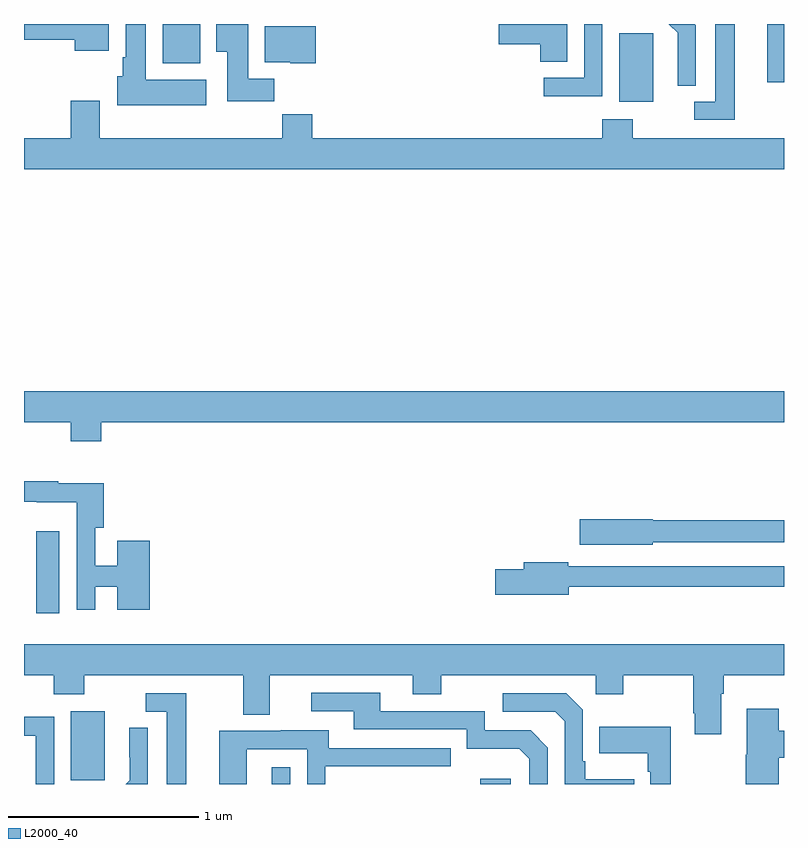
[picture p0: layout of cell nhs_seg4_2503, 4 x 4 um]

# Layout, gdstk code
import gdstk
lib = gdstk.Library(unit=1e-6, precision=1e-09)
def R(c, l, rs):  # rectangles x0, y0, x1, y1
    for r in rs: c.add(gdstk.rectangle(r[:2], r[2:], *l))
def P(c, l, *ps):  # polygons
    for p in ps: c.add(gdstk.Polygon(p, *l))
L2000_40 = (2000, 40)

nhs_seg4_2503 = lib.new_cell('nhs_seg4_2503')
R(nhs_seg4_2503, L2000_40, [(242.303,810.9,242.4,810.988), (243.401,810.9,243.562,810.928), (241.247,810.921,241.426,811.282), (241.064,811.8,241.186,812.23), (244.133,814.49,244.312,814.851), (244.913,814.593,245,814.9), (241.73,814.694,241.927,814.9)])
P(nhs_seg4_2503, L2000_40, [(244.536,814.894),(244.53,814.9),(244.394,814.9),(244.442,814.853),(244.442,814.73),(244.44,814.73),(244.44,814.576),(244.536,814.576)],
  [(244.044,814.9),(243.948,814.9),(243.948,814.617),(243.735,814.617),(243.735,814.519),(244.044,814.519)],
  [(241.96,814.606),(241.642,814.606),(241.642,814.9),(241.535,814.9),(241.535,814.726),(241.52,814.726),(241.52,814.626),(241.49,814.626),(241.49,814.472),(241.96,814.472)],
  [(243.859,814.9),(243.498,814.9),(243.498,814.793),(243.716,814.793),(243.716,814.702),(243.859,814.702)],
  [(241.447,814.9),(241,814.9),(241,814.816),(241.268,814.816),(241.268,814.76),(241.447,814.76)],
  [(244.741,814.9),(244.637,814.9),(244.637,814.491),(244.527,814.491),(244.527,814.395),(244.741,814.395)],
  [(242.318,814.612),(242.179,814.612),(242.179,814.9),(242.012,814.9),(242.012,814.753),(242.069,814.753),(242.069,814.494),(242.318,814.494)],
  [(242.536,814.888),(242.267,814.888),(242.267,814.7),(242.4,814.7),(242.4,814.694),(242.536,814.694)],
  [(245,814.3),(244.203,814.3),(244.203,814.399),(244.043,814.399),(244.043,814.3),(242.516,814.3),(242.516,814.424),(242.359,814.424),(242.359,814.3),(241.399,814.3),(241.399,814.495),(241.247,814.495),(241.247,814.3),(241,814.3),(241,814.136),(245,814.136)],
  [(241.406,812.804),(245,812.804),(245,812.968),(241,812.968),(241,812.804),(241.246,812.804),(241.246,812.705),(241.406,812.705)],
  [(241.374,811.938),(241.49,811.938),(241.49,811.818),(241.661,811.818),(241.661,812.179),(241.49,812.179),(241.49,812.048),(241.374,812.048),(241.374,812.249),(241.421,812.249),(241.421,812.484),(241.181,812.484),(241.181,812.494),(241,812.494),(241,812.385),(241.068,812.385),(241.068,812.384),(241.278,812.384),(241.278,811.818),(241.374,811.818)],
  [(244.308,812.172),(245,812.172),(245,812.288),(244.308,812.288),(244.308,812.294),(243.924,812.294),(243.924,812.159),(244.308,812.159)],
  [(243.868,811.938),(245,811.938),(245,812.046),(243.864,812.046),(243.864,812.066),(243.629,812.066),(243.629,812.03),(243.48,812.03),(243.48,811.895),(243.868,811.895)],
  [(244.669,811.376),(244.682,811.376),(244.682,811.472),(245,811.472),(245,811.636),(241,811.636),(241,811.472),(241.157,811.472),(241.157,811.373),(241.317,811.373),(241.317,811.472),(242.153,811.472),(242.153,811.264),(242.293,811.264),(242.293,811.472),(243.047,811.472),(243.047,811.373),(243.195,811.373),(243.195,811.472),(244.008,811.472),(244.008,811.373),(244.155,811.373),(244.155,811.472),(244.522,811.472),(244.522,811.273),(244.529,811.273),(244.529,811.161),(244.669,811.161)],
  [(243.756,811.092),(243.666,811.182),(243.426,811.182),(243.426,811.284),(242.875,811.284),(242.875,811.38),(242.511,811.38),(242.511,811.284),(242.735,811.284),(242.735,811.188),(243.33,811.188),(243.33,811.085),(243.607,811.085),(243.66,811.032),(243.66,810.9),(243.756,810.9)],
  [(241.855,811.377),(241.641,811.377),(241.641,811.281),(241.751,811.281),(241.751,810.9),(241.855,810.9)],
  [(244.211,810.925),(243.955,810.925),(243.955,811.021),(243.942,811.021),(243.942,811.29),(243.855,811.377),(243.519,811.377),(243.519,811.281),(243.795,811.281),(243.846,811.23),(243.846,810.9),(244.211,810.9)],
  [(244.973,811.037),(245,811.037),(245,811.179),(244.973,811.179),(244.973,811.297),(244.805,811.297),(244.805,811.053),(244.798,811.053),(244.798,810.9),(244.973,810.9)],
  [(241.158,811.254),(241,811.254),(241,811.155),(241.062,811.155),(241.062,810.9),(241.158,810.9)],
  [(244.405,811.201),(244.027,811.201),(244.027,811.061),(244.284,811.061),(244.284,810.965),(244.296,810.965),(244.296,810.9),(244.405,810.9)],
  [(241.65,811.196),(241.554,811.196),(241.554,811.042),(241.556,811.042),(241.556,810.92),(241.536,810.9),(241.65,810.9)],
  [(242.172,811.083),(242.49,811.083),(242.49,810.9),(242.586,810.9),(242.586,810.993),(243.245,810.993),(243.245,811.089),(242.605,811.089),(242.605,811.183),(242.351,811.183),(242.351,811.179),(242.027,811.179),(242.027,810.9),(242.172,810.9)])

lib.write_gds('nhs_seg4_2503.gds')
